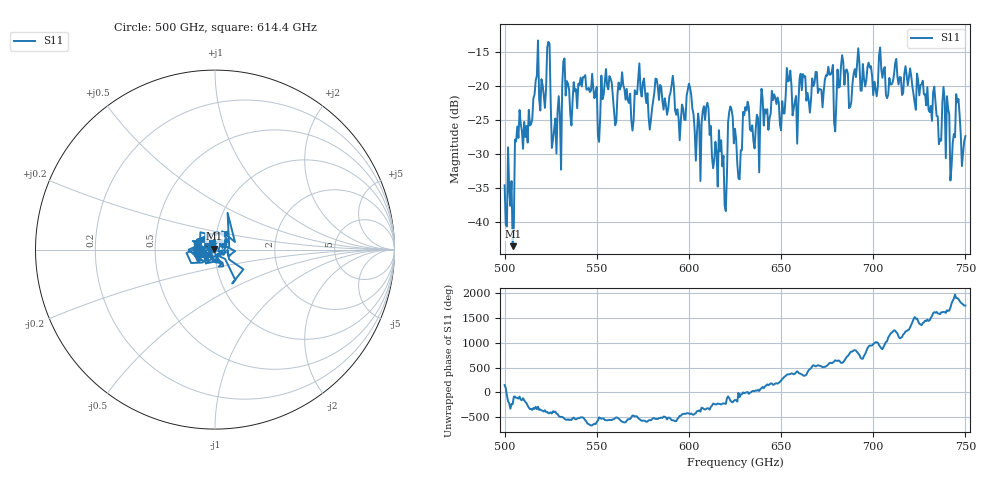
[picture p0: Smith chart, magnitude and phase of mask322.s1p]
!Created with skrf (http://scikit-rf.org).
# GHz S MA R 50.0
!freq magS11 angS11
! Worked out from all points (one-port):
!   401 points, 500 GHz to 750 GHz, reference 50 ohm
!   lowest |S11| = -43.6 dB at 504.4 GHz (marker M1), VSWR 1.01, Z = 49.7 + j0.565 ohm
!   |S11| at or under -10 dB: start of sweep to end of sweep
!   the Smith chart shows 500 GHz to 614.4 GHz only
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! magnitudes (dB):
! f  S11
! 500 GHz  -34.6
! 504.4 GHz  -43.6
! 506.9 GHz  -26.0
! 513.8 GHz  -25.8
! 516.9 GHz  -19.2
! 523.8 GHz  -13.5
! 526.9 GHz  -26.4
! 531.2 GHz  -20.0
! 562.5 GHz  -20.5
! 579.4 GHz  -25.0
! 590.6 GHz  -19.8
! 593.8 GHz  -23.4
! 600 GHz  -19.7
! 605 GHz  -24.1
! 609.4 GHz  -23.1
! 619.4 GHz  -37.6
! 622.5 GHz  -23.0
! 625 GHz  -26.3
! 627.5 GHz  -33.7
! 630.6 GHz  -23.1
! 636.9 GHz  -24.2
! 656.2 GHz  -24.3
! 680 GHz  -22.4
! 683.8 GHz  -16.5
! 687.5 GHz  -23.1
! 691.2 GHz  -16.7
! 718.8 GHz  -19.9
! 750 GHz  -27.4
